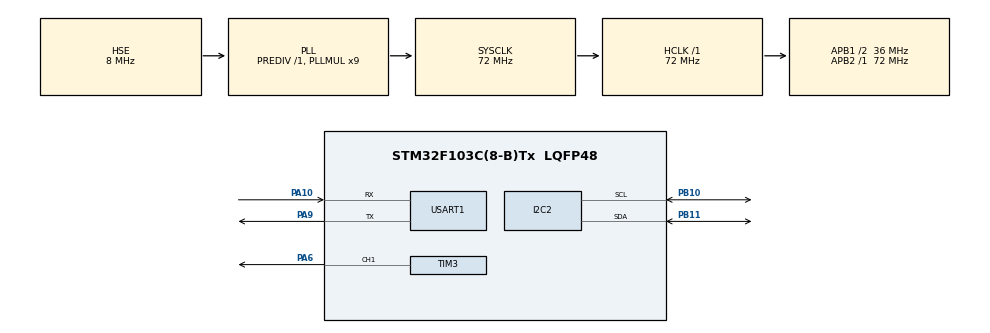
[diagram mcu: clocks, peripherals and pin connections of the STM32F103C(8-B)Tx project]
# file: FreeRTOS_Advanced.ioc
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Dma.Request0=USART1_RX
Dma.Request1=USART1_TX
Dma.USART1_RX.0.Direction=DMA_PERIPH_TO_MEMORY
Dma.USART1_RX.0.Instance=DMA1_Channel5
Dma.USART1_RX.0.MemDataAlignment=DMA_MDATAALIGN_BYTE
Dma.USART1_RX.0.MemInc=DMA_MINC_ENABLE
Dma.USART1_RX.0.Mode=DMA_NORMAL
Dma.USART1_RX.0.PeriphDataAlignment=DMA_PDATAALIGN_BYTE
Dma.USART1_RX.0.PeriphInc=DMA_PINC_DISABLE
Dma.USART1_RX.0.Priority=DMA_PRIORITY_LOW
Dma.USART1_TX.1.Direction=DMA_MEMORY_TO_PERIPH
Dma.USART1_TX.1.Instance=DMA1_Channel4
Dma.USART1_TX.1.MemDataAlignment=DMA_MDATAALIGN_BYTE
Dma.USART1_TX.1.MemInc=DMA_MINC_ENABLE
Dma.USART1_TX.1.Mode=DMA_NORMAL
Dma.USART1_TX.1.PeriphDataAlignment=DMA_PDATAALIGN_BYTE
Dma.USART1_TX.1.PeriphInc=DMA_PINC_DISABLE
Dma.USART1_TX.1.Priority=DMA_PRIORITY_LOW
FREERTOS.Queues01=period_Queue,10,uint8_t,0,Dynamic,NULL,NULL
FREERTOS.Tasks01=mpu6050Task,24,128,MPU6050Task,Default,NULL,Dynamic,NULL,NULL;pwmTask,24,128,PWMTask,Default,NULL,Dynamic,NULL,NULL;usartTask,40,128,USARTTask,Default,NULL,Dynamic,NULL,NULL;brightTask,8,128,BRIGHTTask,Default,NULL,Dynamic,NULL,NULL
I2C2.I2C_Mode=I2C_Standard
Mcu.Family=STM32F1
Mcu.Name=STM32F103C(8-B)Tx
Mcu.Package=LQFP48
NVIC.DMA1_Channel4_IRQn=true\:5\:0\:false\:false\:true\:true\:false\:true\:true
NVIC.DMA1_Channel5_IRQn=true\:5\:0\:false\:false\:true\:true\:false\:true\:true
NVIC.PriorityGroup=NVIC_PRIORITYGROUP_4
NVIC.TIM1_UP_IRQn=true\:15\:0\:true\:false\:true\:false\:false\:true\:true
NVIC.TimeBase=TIM1_UP_IRQn
NVIC.TimeBaseIP=TIM1
NVIC.USART1_IRQn=true\:6\:0\:true\:false\:true\:true\:true\:true\:true
PA10.Mode=Asynchronous
PA10.Signal=USART1_RX
PA13.Mode=Serial_Wire
PA13.Signal=SYS_JTMS-SWDIO
PA14.Mode=Serial_Wire
PA14.Signal=SYS_JTCK-SWCLK
PA6.Signal=S_TIM3_CH1
PA9.Mode=Asynchronous
PA9.Signal=USART1_TX
PB10.Mode=I2C
PB10.Signal=I2C2_SCL
PB11.Mode=I2C
PB11.Signal=I2C2_SDA
PD0-OSC_IN.Mode=HSE-External-Oscillator
PD0-OSC_IN.Signal=RCC_OSC_IN
PD1-OSC_OUT.Mode=HSE-External-Oscillator
PD1-OSC_OUT.Signal=RCC_OSC_OUT
ProjectManager.HeapSize=0x200
ProjectManager.StackSize=0x400
ProjectManager.TargetToolchain=MDK-ARM V5.32
RCC.AHBFreq_Value=72000000
RCC.APB1CLKDivider=RCC_HCLK_DIV2
RCC.APB1Freq_Value=36000000
RCC.APB1TimFreq_Value=72000000
RCC.APB2Freq_Value=72000000
RCC.APB2TimFreq_Value=72000000
RCC.HCLKFreq_Value=72000000
RCC.PLLMUL=RCC_PLL_MUL9
RCC.PLLSourceVirtual=RCC_PLLSOURCE_HSE
RCC.SYSCLKFreq_VALUE=72000000
RCC.SYSCLKSource=RCC_SYSCLKSOURCE_PLLCLK
RCC.USBFreq_Value=72000000
SH.S_TIM3_CH1.0=TIM3_CH1,PWM Generation1 CH1
TIM3.Channel-PWM\ Generation1\ CH1=TIM_CHANNEL_1
TIM3.Period=100-1
TIM3.Prescaler=720-1
USART1.VirtualMode=VM_ASYNC
VP_FREERTOS_VS_CMSIS_V2.Mode=CMSIS_V2
VP_SYS_VS_tim1.Mode=TIM1
board=custom

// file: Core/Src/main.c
/* USER CODE BEGIN Header */
/**
 ******************************************************************************
 * @file           : main.c
 * @brief          : Main program body
 ******************************************************************************
 * @attention
 *
 * Copyright (c) 2024 STMicroelectronics.
 * All rights reserved.
 *
 * This software is licensed under terms that can be found in the LICENSE file
 * in the root directory of this software component.
 * If no LICENSE file comes with this software, it is provided AS-IS.
 *
 ******************************************************************************
 */
/* USER CODE END Header */
#include "main.h"
#include "cmsis_os.h"
#include "dma.h"
#include "i2c.h"
#include "tim.h"
#include "usart.h"
#include "gpio.h"

void SystemClock_Config(void);
void MX_FREERTOS_Init(void);

int main(void)
{

  /* MCU Configuration--------------------------------------------------------*/

  /* Reset of all peripherals, Initializes the Flash interface and the Systick. */
  HAL_Init();

  /* Configure the system clock */
  SystemClock_Config();

  /* Initialize all configured peripherals */
  MX_GPIO_Init();
  MX_DMA_Init();
  MX_TIM3_Init();
  MX_USART1_UART_Init();
  MX_I2C2_Init();
  /* USER CODE BEGIN 2 */
    HAL_TIM_PWM_Start(&htim3, TIM_CHANNEL_1);

  /* USER CODE END 2 */

  /* Init scheduler */
  osKernelInitialize();  /* Call init function for freertos objects (in freertos.c) */
  MX_FREERTOS_Init();

  /* Start scheduler */
  osKernelStart();
  /* We should never get here as control is now taken by the scheduler */
  /* Infinite loop */
  while (1)
  {

  }
}

void SystemClock_Config(void)
{
  RCC_OscInitTypeDef RCC_OscInitStruct = {0};
  RCC_ClkInitTypeDef RCC_ClkInitStruct = {0};

  /** Initializes the RCC Oscillators according to the specified parameters
  * in the RCC_OscInitTypeDef structure.
  */
  RCC_OscInitStruct.OscillatorType = RCC_OSCILLATORTYPE_HSE;
  RCC_OscInitStruct.HSEState = RCC_HSE_ON;
  RCC_OscInitStruct.HSEPredivValue = RCC_HSE_PREDIV_DIV1;
  RCC_OscInitStruct.HSIState = RCC_HSI_ON;
  RCC_OscInitStruct.PLL.PLLState = RCC_PLL_ON;
  RCC_OscInitStruct.PLL.PLLSource = RCC_PLLSOURCE_HSE;
  RCC_OscInitStruct.PLL.PLLMUL = RCC_PLL_MUL9;
  if (HAL_RCC_OscConfig(&RCC_OscInitStruct) != HAL_OK)
  {
    Error_Handler();
  }

  /** Initializes the CPU, AHB and APB buses clocks
  */
  RCC_ClkInitStruct.ClockType = RCC_CLOCKTYPE_HCLK|RCC_CLOCKTYPE_SYSCLK
                              |RCC_CLOCKTYPE_PCLK1|RCC_CLOCKTYPE_PCLK2;
  RCC_ClkInitStruct.SYSCLKSource = RCC_SYSCLKSOURCE_PLLCLK;
  RCC_ClkInitStruct.AHBCLKDivider = RCC_SYSCLK_DIV1;
  RCC_ClkInitStruct.APB1CLKDivider = RCC_HCLK_DIV2;
  RCC_ClkInitStruct.APB2CLKDivider = RCC_HCLK_DIV1;

  if (HAL_RCC_ClockConfig(&RCC_ClkInitStruct, FLASH_LATENCY_2) != HAL_OK)
  {
    Error_Handler();
  }
}

void HAL_TIM_PeriodElapsedCallback(TIM_HandleTypeDef *htim)
{
  if (htim->Instance == TIM1) {
    HAL_IncTick();
  }
}

void Error_Handler(void)
{
  __disable_irq();
  while (1)
  {
  }
}

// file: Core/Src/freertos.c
/* USER CODE BEGIN Header */
/**
 ******************************************************************************
 * File Name          : freertos.c
 * Description        : Code for freertos applications
 ******************************************************************************
 * @attention
 *
 * Copyright (c) 2024 STMicroelectronics.
 * All rights reserved.
 *
 * This software is licensed under terms that can be found in the LICENSE file
 * in the root directory of this software component.
 * If no LICENSE file comes with this software, it is provided AS-IS.
 *
 ******************************************************************************
 */
/* USER CODE END Header */

#include "FreeRTOS.h"
#include "task.h"
#include "main.h"
#include "cmsis_os.h"

/* USER CODE BEGIN Includes */
#include "stdio.h"
#include "string.h"
#include "mpu6050.h"
#include "tim.h"
#include "usart.h"
#include "inv_mpu.h"
extern UART_HandleTypeDef huart1;
extern DMA_HandleTypeDef hdma_usart1_rx;
/* USER CODE END Includes */

/* USER CODE BEGIN Variables */
uint8_t brightness = 100;
/* USER CODE END Variables */
/* Definitions for mpu6050Task */
osThreadId_t mpu6050TaskHandle;
const osThreadAttr_t mpu6050Task_attributes = {
  .name = "mpu6050Task",
  .stack_size = 128 * 4,
  .priority = (osPriority_t) osPriorityNormal,
};
/* Definitions for pwmTask */
osThreadId_t pwmTaskHandle;
const osThreadAttr_t pwmTask_attributes = {
  .name = "pwmTask",
  .stack_size = 128 * 4,
  .priority = (osPriority_t) osPriorityNormal,
};
/* Definitions for usartTask */
osThreadId_t usartTaskHandle;
const osThreadAttr_t usartTask_attributes = {
  .name = "usartTask",
  .stack_size = 128 * 4,
  .priority = (osPriority_t) osPriorityHigh,
};
/* Definitions for brightTask */
osThreadId_t brightTaskHandle;
const osThreadAttr_t brightTask_attributes = {
  .name = "brightTask",
  .stack_size = 128 * 4,
  .priority = (osPriority_t) osPriorityLow,
};
/* Definitions for period_Queue */
osMessageQueueId_t period_QueueHandle;
const osMessageQueueAttr_t period_Queue_attributes = {
  .name = "period_Queue"
};

void MPU6050Task(void *argument);
void PWMTask(void *argument);
void USARTTask(void *argument);
void BRIGHTTask(void *argument);

void MX_FREERTOS_Init(void); /* (MISRA C 2004 rule 8.1) */

void MX_FREERTOS_Init(void) {

  /* Create the queue(s) */
  /* creation of period_Queue */
  period_QueueHandle = osMessageQueueNew (10, sizeof(uint8_t), &period_Queue_attributes);

  /* Create the thread(s) */
  /* creation of mpu6050Task */
  mpu6050TaskHandle = osThreadNew(MPU6050Task, NULL, &mpu6050Task_attributes);

  /* creation of pwmTask */
  pwmTaskHandle = osThreadNew(PWMTask, NULL, &pwmTask_attributes);

  /* creation of usartTask */
  usartTaskHandle = osThreadNew(USARTTask, NULL, &usartTask_attributes);

  /* creation of brightTask */
  brightTaskHandle = osThreadNew(BRIGHTTask, NULL, &brightTask_attributes);

}

void MPU6050Task(void *argument)
{
  /* USER CODE BEGIN MPU6050Task */
  char message[50];
  int ret = 0;
  do
  {
    ret = MPU6050_DMP_init();
  } while (ret);
  float roll, yaw, pitch;
  /* Infinite loop */
  for (;;)
  {
    while (MPU6050_DMP_Get_Data(&pitch, &roll, &yaw) != 0)
    {
      osDelay(10);
    }
    sprintf(message, "roll: %.1f, pitch: %.1f, yaw: %.1f\r\n", roll, pitch, yaw);
    HAL_UART_Transmit(&huart1, (uint8_t *)message, strlen(message), HAL_MAX_DELAY);
    osDelay(1000);
  }
  /* USER CODE END MPU6050Task */
}

void PWMTask(void *argument)
{
  /* USER CODE BEGIN PWMTask */
  /* Infinite loop */
  for (;;)
  {

    for (int i = 0; i < brightness; i++)
    {
      __HAL_TIM_SetCompare(&htim3, TIM_CHANNEL_1, i);
      osDelay(10);
    }
    for (int i = brightness; i >= 0; i--)
    {
      __HAL_TIM_SetCompare(&htim3, TIM_CHANNEL_1, i);
      osDelay(10);
    }
  }
  /* USER CODE END PWMTask */
}

void USARTTask(void *argument)
{
  /* USER CODE BEGIN USARTTask */
	__HAL_UART_ENABLE_IT(&huart1, UART_IT_IDLE);               // 使能IDLE中断
//	uint8_t tmp;
	char str[50];
//	BaseType_t err;

  /* Infinite loop */
  for (;;)
  {

//	  if(recv_len)
//	  {
//		  sprintf(str,"Brightness is %d\r\n",brightness);
//		  HAL_UART_Transmit(&huart1, (uint8_t *)str, strlen(str), HAL_MAX_DELAY);
//			recv_len = 0;
//	  }

    osDelay(10);
  }
  /* USER CODE END USARTTask */
}

void BRIGHTTask(void *argument)
{
  /* USER CODE BEGIN BRIGHTTask */
	BaseType_t err;
	uint8_t tmp = 0;;
	char str[50];
//	err = xQueueReceive(period_QueueHandle,&tmp,10);
//	 if(err == pdTRUE) {
//		 brightness = tmp;
//	 }
  /* Infinite loop */

	 for(;;)
  {
	  err = xQueueReceive(period_QueueHandle,&tmp,10);
		if(err == pdTRUE)
	  {
		  brightness = tmp;
		  sprintf(str,"Receive:%d\r\n",brightness);
		  HAL_UART_Transmit(&huart1, (uint8_t *)str, strlen(str), HAL_MAX_DELAY);
	  }
    osDelay(10);
  }
  /* USER CODE END BRIGHTTask */
}

/* USER CODE BEGIN Application */
// USART1串口空闲中断处理函数
void UART_IDLE_Callback(UART_HandleTypeDef *huart)
{
  if (__HAL_UART_GET_FLAG(huart, UART_FLAG_IDLE) != RESET &&
      huart->Instance == USART1)
  {
    __HAL_UART_CLEAR_IDLEFLAG(huart);
	HAL_UART_DMAStop(huart);
    recv_len = MAX_BUFFER_LEN - __HAL_DMA_GET_COUNTER(&hdma_usart1_rx);
    if (recv_len > 0 && recv_len < MAX_BUFFER_LEN - 1)
    {
		memcpy(RxData, DMA_Buffer, recv_len);
		RxData[recv_len] = '\0';
		uint8_t res = (uint8_t)atoi(RxData);
		xQueueSendFromISR(period_QueueHandle, &res, NULL);
//		xQueuePeek(period_QueueHandle,&res,portMAX_DELAY);
//		xQueueSend(period_QueueHandle, &res, portMAX_DELAY);
//		brightness = res;
    }
    else
    {
      recv_len = 0;
    }
    __HAL_UNLOCK(huart);
    HAL_UART_Receive_DMA(huart, DMA_Buffer, MAX_BUFFER_LEN);
  }
}
/* USER CODE END Application */
